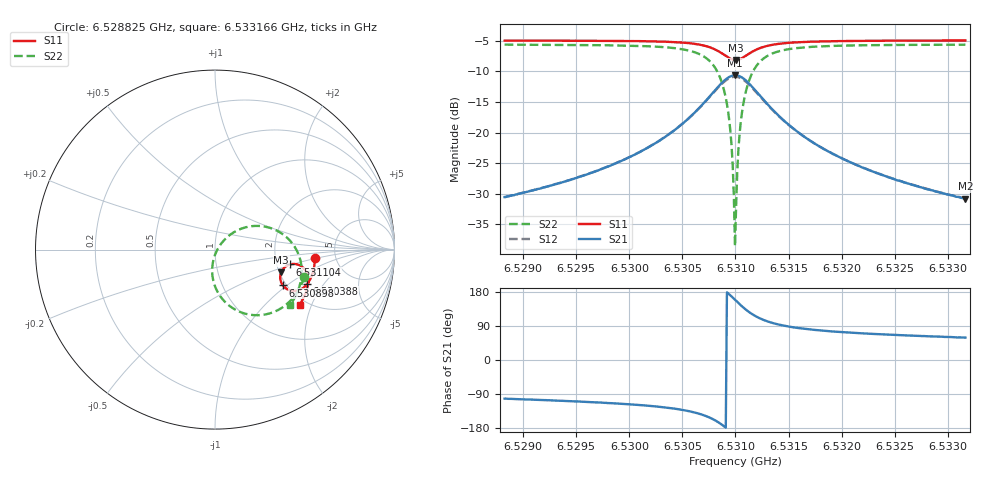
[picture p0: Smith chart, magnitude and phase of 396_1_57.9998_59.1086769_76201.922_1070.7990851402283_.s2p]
#  HZ  S  RI  R  50.00
! Rohde & Schwarz Vector Network Analyzer
! Rohde-Schwarz,ZNB20-2Port,1311601062101988,3.16
! Created: UTC 3/21/2024, 1:08:02 AM
! freq[Hz]  re:S11  im:S11  re:S21  im:S21  re:S12  im:S12  re:S22  im:S22
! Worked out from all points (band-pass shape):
!   401 points, 6.528825 GHz to 6.533166 GHz, reference 50 ohm
!   highest |S21| = -10.66 dB at 6.530996 GHz (marker M1); lowest = -30.8 dB at 6.533166 GHz (marker M2)
!   |S21| within 3 dB of the highest: 6.53078 GHz to 6.531213 GHz (433 kHz wide, 0.00663 % of centre)
!   lowest |S11| = -8.2 dB at 6.531007 GHz (marker M3), VSWR 2.28, Z = 102 - j30.4 ohm
!   |S11| at or under -10 dB: nowhere
!   |S22| runs from -38.5 to -5.7 dB; largest |S21 - S12| = 0.011
!   S11 on the Smith chart (normalised r, x): 6.528825 GHz: 3.48, -0.50; 6.530388 GHz: 2.56, -1.40; 6.530898 GHz: 1.92, -0.94; 6.531104 GHz: 2.37, -0.48; 6.533166 GHz: 1.82, -1.65
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6.5288251e9  0.5591 -0.0487  -0.00621 -0.0291  -0.00682 -0.029  0.4982 -0.1516
6.5295522e9  0.5496 -0.1086  -0.015 -0.0415  -0.0161 -0.0411  0.4691 -0.2182
6.5302794e9  0.5225 -0.1791  -0.0469 -0.0713  -0.0488 -0.07  0.3916 -0.3106
6.5303879e9  0.5136 -0.192  -0.0594 -0.079  -0.0616 -0.0774  0.3653 -0.3288
6.5307352e9  0.4472 -0.2302  -0.161 -0.0953  -0.1632 -0.089  0.173 -0.3582
6.5308329e9  0.4067 -0.2229  -0.2239 -0.0673  -0.2231 -0.0585  0.0669 -0.302
6.530898e9  0.3781 -0.1996  -0.266 -0.0175  -0.2612 -0.00816  0.0027 -0.2114
6.5309414e9  0.3657 -0.1732  -0.2819 0.033  -0.2739 0.0407  -0.0159 -0.125
6.5309631e9  0.3633 -0.1577  -0.2827 0.0616  -0.2738 0.0678  -0.0128 -0.0775
6.530974e9  0.3634 -0.1497  -0.281 0.0764  -0.2717 0.0817  -0.00789 -0.0536
6.5309848e9  0.3642 -0.1417  -0.2781 0.0909  -0.2683 0.0953  -0.000368 -0.0302
6.5309957e9  0.3662 -0.1338  -0.2736 0.1054  -0.2636 0.1087  0.00924 -0.0074
6.5310065e9  0.3688 -0.1261  -0.2675 0.1188  -0.2575 0.1216  0.0213 0.0142
6.5310174e9  0.3725 -0.1187  -0.2603 0.1318  -0.2503 0.1337  0.0352 0.0345
6.5310282e9  0.3766 -0.1118  -0.2517 0.1442  -0.2421 0.145  0.0511 0.0532
6.5310499e9  0.3869 -0.1  -0.2321 0.1652  -0.223 0.1646  0.0869 0.0848
6.5311042e9  0.4184 -0.0824  -0.1746 0.1966  -0.1683 0.194  0.1869 0.1279
6.5311802e9  0.4594 -0.0829  -0.1022 0.1994  -0.0989 0.1967  0.309 0.1201
6.5312887e9  0.495 -0.1047  -0.0397 0.1704  -0.0383 0.1689  0.4112 0.0572
6.5317228e9  0.5193 -0.1835  0.0144 0.0825  0.0155 0.0823  0.4832 -0.1289
6.53245e9  0.4992 -0.2554  0.017 0.0395  0.0175 0.0393  0.4555 -0.2447
6.5331663e9  0.4715 -0.3082  0.0149 0.0248  0.0154 0.0245  0.4204 -0.3066
